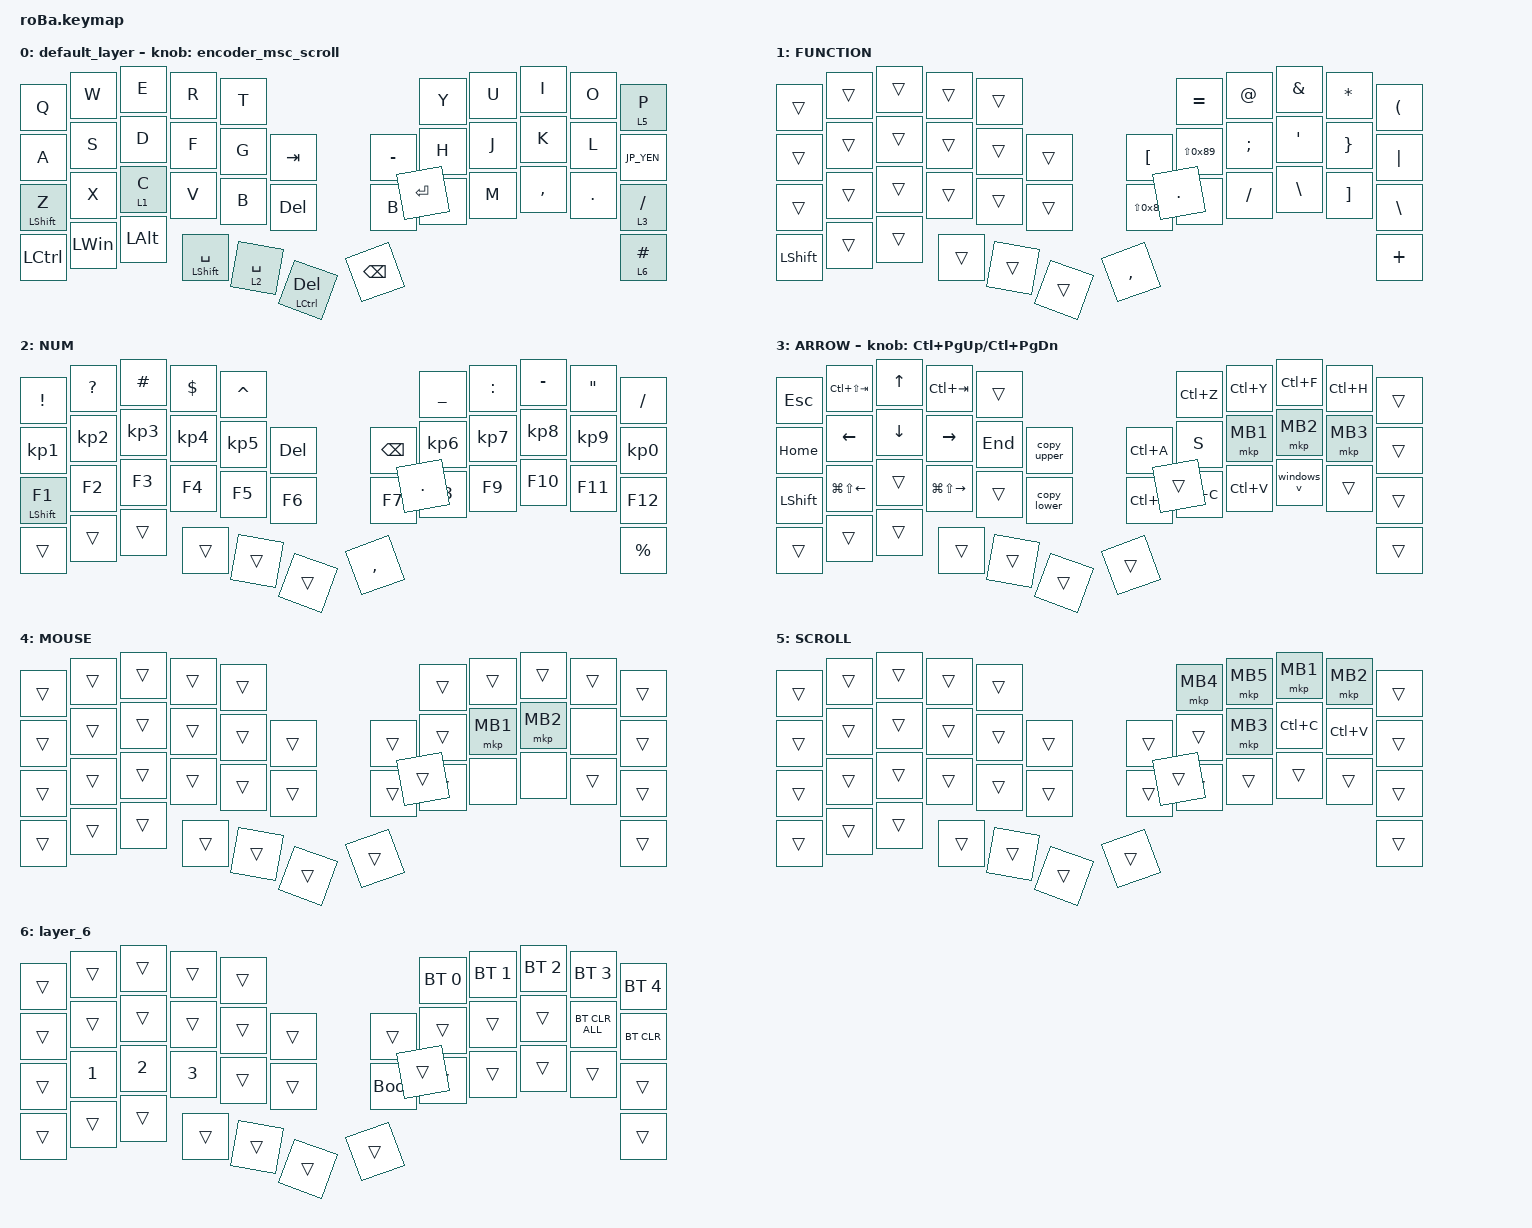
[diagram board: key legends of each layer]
#define ZMK_POINTING_DEFAULT_SCRL_VAL 100
#include <dt-bindings/zmk/pointing.h>

#include <behaviors.dtsi>
#include <dt-bindings/zmk/bt.h>
#include <dt-bindings/zmk/keys.h>
#include <dt-bindings/zmk/pointing.h>

// OS設定を日本語キーボードのまま使用するための変換定義（#defineに続いて、入力したい文字が左側、それに対応するUSキーボード上のキーが右側）

#define JP_DQUOTE       AT                // "
#define JP_AMPERSAND    CARET             // &
#define JP_QUOTE        AMPERSAND         // '
#define JP_EQUAL        UNDER             // =
#define JP_CARET        EQUAL             // ^
#define JP_YEN          0x89              // ¥
#define JP_PLUS         COLON             // +
#define JP_TILDE        PLUS              // ~
#define JP_PIPE         LS(0x89)          // |
#define JP_AT           LEFT_BRACKET      // @
#define JP_COLON        SINGLE_QUOTE      // :
#define JP_ASTERISK     DOUBLE_QUOTES     // *
#define JP_BACKQUOTE    LEFT_BRACE        // `
#define JP_UNDERSCORE   LS(0x87)          // _
#define JP_LBRACKET     RIGHT_BRACKET     // [
#define JP_RBRACKET     BACKSLASH         // ]
#define JP_LPAREN       ASTERISK          // (
#define JP_RPAREN       LEFT_PARENTHESIS  // )
#define JP_LBRACE       RIGHT_BRACE       // {
#define JP_RBRACE       PIPE              // }
#define JP_KANA         LANGUAGE_1        // かな
#define JP_EISU         LANGUAGE_2        // 英数
#define JP_HANZEN       GRAVE             // 半角/全角

&mt {
    flavor = "balanced";
    quick-tap-ms = <0>;
};

&trackball {
    //automouse-layer = <4>;    //
    scroll-layers = <5>;

     arrows {
         layers = <3>;
         bindings =
             <&kp RIGHT_ARROW>,
             <&kp LEFT_ARROW>,
             <&kp UP_ARROW>,
             <&kp DOWN_ARROW>;
         tick = <10>;
         wait-ms = <5>;
         tap-ms = <5>;
     };
};

//AMLを延長する
#include <input/processors.dtsi>
&mkp_input_listener {
    input-processors = <&zip_temp_layer 4 250>;
};

/ {
    combos {
        compatible = "zmk,combos";

        shift_tab {
            bindings = <&kp LS(TAB)>;
            key-positions = <12 13>;
        };

        tab {
            bindings = <&kp TAB>;
            key-positions = <11 10>;
        };

        esc {
            bindings = <&kp ESC>;
            key-positions = <0 10>;
        };

        hanzenkaku {
            bindings = <&switch_hanzenkaku>;
            key-positions = <13 18>;
        };

        f2 {
            bindings = <&kp F2>;
            key-positions = <13 18>;
        };

        kagikakko1 {
            bindings = <&kp JP_LBRACKET>;
            key-positions = <7 19>;
        };

        kagikakko2 {
            bindings = <&kp JP_RBRACKET>;
            key-positions = <20 8>;
        };

        kakko1 {
            bindings = <&kp JP_LPAREN>;
            key-positions = <5 17>;
        };

        kakko2 {
            bindings = <&kp JP_RPAREN>;
            key-positions = <18 6>;
        };

        double_quotation {
            bindings = <&kp JP_DQUOTE>;
            key-positions = <7 8>;
        };

        quote {
            bindings = <&kp JP_QUOTE>;
            key-positions = <19 20>;
        };

        slash {
            bindings = <&kp SLASH>;
            key-positions = <18 7>;
        };

        back-slash {
            bindings = <&kp BACKSLASH>;
            key-positions = <6 19>;
        };

        UnderBar {
            bindings = <&kp JP_UNDERSCORE>;
            key-positions = <31 32>;
        };
    };

    macros {
        to_layer_0: to_layer_0 {
            compatible = "zmk,behavior-macro-one-param";
            #binding-cells = <1>;
            bindings = <&to 0 &macro_param_1to1 &kp MACRO_PLACEHOLDER>;
            label = "TO_LAYER_0";
        };

        switch_hanzenkaku: switch_hanzenkaku {
            compatible = "zmk,behavior-macro";
            #binding-cells = <0>;
            bindings =
                <&macro_press>,
                <&kp LALT>,
                <&macro_tap>,
                <&kp GRAVE>,
                <&macro_release>,
                <&kp LEFT_ALT>;

            label = "SWITCH_HANZENKAKU";
        };

        windows_v: windows_v {
            compatible = "zmk,behavior-macro";
            #binding-cells = <0>;
            bindings =
                <&macro_press>,
                <&kp LEFT_WIN>,
                <&macro_tap>,
                <&kp V>,
                <&macro_release>,
                <&kp LEFT_WIN>;

            label = "WINDOWS_V";
        };

        copy_upper: copy_upper {
            compatible = "zmk,behavior-macro";
            #binding-cells = <0>;
            bindings =
                <&macro_press>,
                <&kp LS(LEFT_ALT)>,
                <&macro_tap>,
                <&kp UP_ARROW>,
                <&macro_release>,
                <&kp LS(LEFT_ALT)>;

            label = "COPY_UPPER";
        };

        copy_lower: copy_lower {
            compatible = "zmk,behavior-macro";
            #binding-cells = <0>;
            bindings =
                <&macro_press>,
                <&kp LS(LEFT_ALT)>,
                <&macro_tap>,
                <&kp DOWN_ARROW>,
                <&macro_release>,
                <&kp LS(LEFT_ALT)>;

            label = "COPY_LOWER";
        };

        kagikakko1_macro: kagikakko1_macro {
            compatible = "zmk,behavior-macro";
            #binding-cells = <0>;
            bindings =
                <&macro_press>,
                <&kp LSHFT>,
                <&macro_tap>,
                <&kp JP_LBRACE>,
                <&macro_release>,
                <&kp LSHFT>;

            label = "KAGIKAKKO1_MACRO";
        };

        kagikakko2_macro: kagikakko2_macro {
            compatible = "zmk,behavior-macro";
            #binding-cells = <0>;
            bindings =
                <&macro_press>,
                <&kp LSHFT>,
                <&macro_tap>,
                <&kp JP_RBRACE>,
                <&macro_release>,
                <&kp LSHFT>;

            label = "KAGIKAKKO2_MACRO";
        };
    };

    behaviors {
        lt_to_layer_0: lt_to_layer_0 {
            compatible = "zmk,behavior-hold-tap";
            label = "LAYER_TAP_TO_0";
            bindings = <&mo>, <&to_layer_0>;

            #binding-cells = <2>;
            tapping-term-ms = <200>;
        };

        encoder_msc_scroll: encoder_msc_scroll {
            compatible = "zmk,behavior-sensor-rotate";
            #sensor-binding-cells = <0>;
            bindings = <&msc SCRL_DOWN>, <&msc SCRL_UP>;
            tap-ms = <20>;
        };
    };

    keymap {
        compatible = "zmk,keymap";

        default_layer {
            bindings = <
&kp Q             &kp W         &kp E         &kp R                 &kp T                                             &kp Y      &kp U  &kp I      &kp O    &lt 5 P
&kp A             &kp S         &kp D         &kp F                 &kp G        &kp TAB               &kp MINUS      &kp H      &kp J  &kp K      &kp L    &kp JP_YEN
&mt LEFT_SHIFT Z  &kp X         &lt 1 C       &kp V                 &kp B        &kp DELETE            &kp B          &kp N      &kp M  &kp COMMA  &kp DOT  &lt 3 SLASH
&kp LCTRL         &kp LEFT_WIN  &kp LEFT_ALT  &mt LEFT_SHIFT SPACE  &lt 2 SPACE  &mt LCTRL DELETE      &kp BACKSPACE  &kp ENTER                             &lt 6 HASH
            >;

            sensor-bindings = <&encoder_msc_scroll>;
        };

        FUNCTION {
            bindings = <
&trans          &trans  &trans  &trans  &trans                                 &kp JP_CARET      &kp JP_DQUOTE  &kp JP_QUOTE  &kp JP_LPAREN    &kp JP_RPAREN
&trans          &trans  &trans  &trans  &trans  &trans      &kp JP_AT          &kp JP_PIPE       &kp SEMI       &kp JP_COLON  &kp JP_LBRACE    &kp JP_RBRACE
&trans          &trans  &trans  &trans  &trans  &trans      &kp JP_UNDERSCORE  &kp JP_BACKQUOTE  &kp SLASH      &kp BSLH      &kp JP_LBRACKET  &kp JP_RBRACKET
&kp LEFT_SHIFT  &trans  &trans  &trans  &trans  &trans      &kp COMMA          &kp PERIOD                                                      &kp JP_TILDE
            >;
        };

        NUM {
            bindings = <
&kp EXCLAMATION    &kp QUESTION     &kp HASH         &kp DOLLAR       &kp JP_AMPERSAND                                 &kp JP_EQUAL     &kp JP_PLUS      &kp MINUS        &kp JP_ASTERISK  &kp SLASH
&kp KP_NUMBER_1    &kp KP_NUMBER_2  &kp KP_NUMBER_3  &kp KP_NUMBER_4  &kp KP_NUMBER_5   &kp DELETE      &kp BACKSPACE  &kp KP_NUMBER_6  &kp KP_NUMBER_7  &kp KP_NUMBER_8  &kp KP_NUMBER_9  &kp KP_NUMBER_0
&mt LEFT_SHIFT F1  &kp F2           &kp F3           &kp F4           &kp F5            &kp F6          &kp F7         &kp F8           &kp F9           &kp F10          &kp F11          &kp F12
&trans             &trans           &trans           &trans           &trans            &trans          &kp COMMA      &kp PERIOD                                                          &kp PRCNT
            >;
        };

        ARROW {
            bindings = <
&kp ESCAPE      &kp LC(LS(TAB))         &kp UP_ARROW    &kp LC(TAB)              &trans                               &kp LC(Z)  &kp LC(Y)  &kp LC(F)   &kp LC(H)  &trans
&kp HOME        &kp LEFT_ARROW          &kp DOWN_ARROW  &kp RIGHT_ARROW          &kp END  &copy_upper      &kp LC(A)  &kp S      &mkp MB1   &mkp MB2    &mkp MB3   &trans
&kp LEFT_SHIFT  &kp LG(LS(LEFT_ARROW))  &trans          &kp LG(LS(RIGHT_ARROW))  &trans   &copy_lower      &kp LC(X)  &kp LC(C)  &kp LC(V)  &windows_v  &trans     &trans
&trans          &trans                  &trans          &trans                   &trans   &trans           &trans     &trans                                       &trans
            >;

            sensor-bindings = <&inc_dec_kp LC(PAGE_UP) LC(PAGE_DOWN)>;
        };

        MOUSE {
            bindings = <
&trans  &trans  &trans  &trans  &trans                      &trans  &trans    &trans    &trans  &trans
&trans  &trans  &trans  &trans  &trans  &trans      &trans  &trans  &mkp MB1  &mkp MB2  &none   &trans
&trans  &trans  &trans  &trans  &trans  &trans      &trans  &trans  &none     &none     &trans  &trans
&trans  &trans  &trans  &trans  &trans  &trans      &trans  &trans                              &trans
            >;
        };

        SCROLL {
            bindings = <
&trans  &trans  &trans  &trans  &trans                      &mkp MB4  &mkp MB5  &mkp MB1   &mkp MB2   &trans
&trans  &trans  &trans  &trans  &trans  &trans      &trans  &trans    &mkp MB3  &kp LC(C)  &kp LC(V)  &trans
&trans  &trans  &trans  &trans  &trans  &trans      &trans  &trans    &trans    &trans     &trans     &trans
&trans  &trans  &trans  &trans  &trans  &trans      &trans  &trans                                    &trans
            >;
        };

        layer_6 {
            bindings = <
&trans  &trans        &trans        &trans        &trans                           &bt BT_SEL 0  &bt BT_SEL 1  &bt BT_SEL 2  &bt BT_SEL 3    &bt BT_SEL 4
&trans  &trans        &trans        &trans        &trans  &trans      &trans       &trans        &trans        &trans        &bt BT_CLR_ALL  &bt BT_CLR
&trans  &kp NUMBER_1  &kp NUMBER_2  &kp NUMBER_3  &trans  &trans      &bootloader  &trans        &trans        &trans        &trans          &trans
&trans  &trans        &trans        &trans        &trans  &trans      &trans       &trans                                                    &trans
            >;
        };
    };
};
